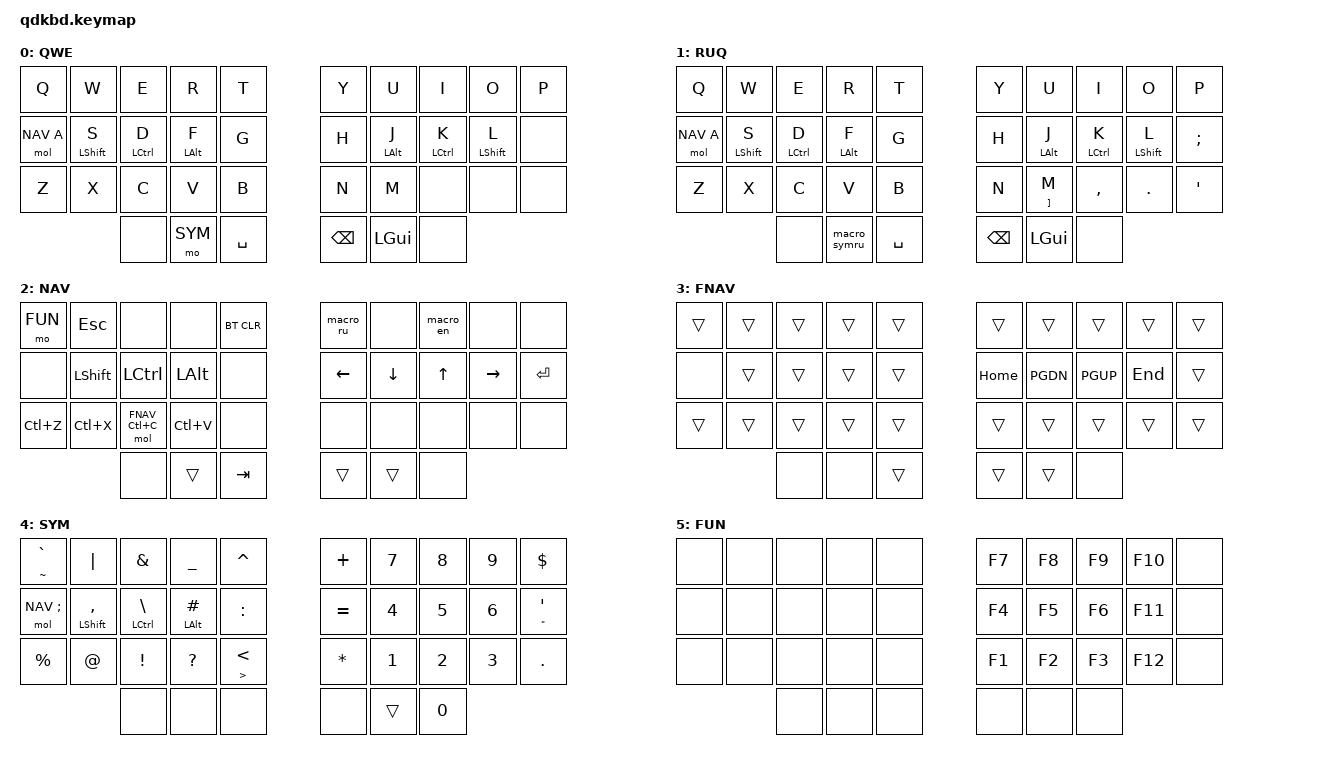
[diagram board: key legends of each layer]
#include <behaviors.dtsi>
#include <dt-bindings/zmk/keys.h>
#include <dt-bindings/zmk/bt.h>

#define QWE 0
#define RUQ 1
#define NAV 2
#define FNAV 3
#define SYM 4
#define FUN 5

#define ____ &trans
#define XXXX &none
// Homerow mods

/ {
    combos {
        #include "combos.dtsi"
    };
    macros {
        #include "macros.dtsi"
    };
    behaviors {
        #include "behaviors.dtsi"
    };
    keymap {
        compatible = "zmk,keymap";
        qwerty {
            label = "QWE";
            bindings = <
// ╭────────────┬────────────┬────────────┬────────────┬────────────╮                            ╭────────────┬────────────┬────────────┬────────────┬────────────╮
    &kp Q        &kp W        &kp E        &kp R        &kp T                                     &kp Y        &kp U        &kp I        &kp O        &kp P
    &mol NAV A   &mtl LSHFT S &mtl LCTRL D &mtl LALT F  &kp G                                     &kp H        &mtr LALT J  &mtr LCTRL K &mtr LSHFT L XXXX
    &kp Z        &kp X        &kp C        &kp V        &kp B                                     &kp N        &kp M        XXXX         XXXX         XXXX
// ╰────────────┴────────────┴────────────┼────────────┼────────────┼────────────╮  ╭────────────┼────────────┼────────────┼────────────┴────────────┴────────────╯
                                           XXXX         &mo SYM      &kp SPACE       &kp BSPC     &kp LGUI      XXXX
//                                        ╰────────────┴────────────┴────────────╯  ╰────────────┴────────────┴────────────╯
            >;
        };
        ru_qwerty {
            label = "RUQ";
            bindings = <
// ╭────────────┬────────────┬────────────┬────────────┬────────────╮                            ╭────────────┬────────────┬────────────┬────────────┬────────────╮
    &kp Q        &kp W        &kp E        &kp R        &kp T                                     &kp Y        &kp U        &kp I        &kp O        &kp P
    &mol NAV A   &mtl LSHFT S &mtl LCTRL D &mtl LALT F  &kp G                                     &kp H        &mtr LALT J  &mtr LCTRL K &mtr LSHFT L &kp SEMI
    &kp Z        &kp X        &kp C        &kp V        &kp B                                     &kp N        &mt RBKT M   &kp COMMA    &kp DOT      &kp APOS
// ╰────────────┴────────────┴────────────┼────────────┼────────────┼────────────╮  ╭────────────┼────────────┼────────────┼────────────┴────────────┴────────────╯
                                           XXXX         &macro_symru &kp SPACE       &kp BSPC     &kp LGUI      XXXX
//                                        ╰────────────┴────────────┴────────────╯  ╰────────────┴────────────┴────────────╯
            >;
        }; 
        navigation {
            label = "NAV";
            bindings = <
// ╭────────────┬────────────┬────────────┬────────────┬────────────╮                            ╭────────────┬────────────┬────────────┬────────────┬────────────╮
    &mo FUN      &kp ESC      XXXX         XXXX         &bt BT_CLR                                &macro_ru    XXXX         &macro_en    XXXX         XXXX
    XXXX         &kp LSHFT    &kp LCTRL    &kp LALT     XXXX                                      &kp LEFT     &kp DOWN     &kp UP       &kp RIGHT    &kp RET
    &kp LC(Z)    &kp LC(X) &mol FNAV LC(C) &kp LC(V)    XXXX                                      XXXX         XXXX         XXXX         XXXX         XXXX
// ╰────────────┴────────────┴────────────┼────────────┼────────────┼────────────╮  ╭────────────┼────────────┼────────────┼────────────┴────────────┴────────────╯
                                           XXXX         ____         &kp TAB         ____         ____         XXXX
//                                        ╰────────────┴────────────┴────────────╯  ╰────────────┴────────────┴────────────╯
            >;
        };
        fast_navigation {
            label = "FNAV";
            bindings = <
// ╭────────────┬────────────┬────────────┬────────────┬────────────╮                            ╭────────────┬────────────┬────────────┬────────────┬────────────╮
    ____         ____         ____         ____         ____                                      ____         ____         ____         ____         ____
    XXXX         ____         ____         ____         ____                                      &kp HOME     &kp PGDN     &kp PGUP     &kp END      ____
    ____         ____         ____         ____         ____                                      ____         ____         ____         ____         ____
// ╰────────────┴────────────┴────────────┼────────────┼────────────┼────────────╮  ╭────────────┼────────────┼────────────┼────────────┴────────────┴────────────╯
                                           XXXX         XXXX         ____            ____         ____         XXXX
//                                        ╰────────────┴────────────┴────────────╯  ╰────────────┴────────────┴────────────╯
            >;
        };
        symbols {
            label = "SYM";
            bindings = <
// ╭────────────┬────────────┬────────────┬────────────┬────────────╮                            ╭────────────┬────────────┬────────────┬────────────┬────────────╮
    &mt TILDE GRAVE &kp PIPE  &kp AMPS     &kp UNDER    &kp CARET                                 &kp PLUS     &kp N7       &kp N8       &kp N9       &kp DLLR
    &mol NAV SEMI &mtl LSHFT COMMA &mtl LCTRL BSLH   &mtl LALT HASH &kp COLON                                 &kp EQUAL    &kp N4       &kp N5       &kp N6       &mt DQT APOS
    &kp PRCNT    &kp AT       &kp EXCL     &kp QMARK    &mt GT LT                                 &kp STAR     &kp N1       &kp N2       &kp N3       &kp DOT
// ╰────────────┴────────────┴────────────┼────────────┼────────────┼────────────╮  ╭────────────┼────────────┼────────────┼────────────┴────────────┴────────────╯
                                           XXXX         XXXX         XXXX            XXXX         ____         &kp N0
//                                        ╰────────────┴────────────┴────────────╯  ╰────────────┴────────────┴────────────╯
            >;
        };
        function {
            label = "FUN";
            bindings = <
// ╭────────────┬────────────┬────────────┬────────────┬────────────╮                            ╭────────────┬────────────┬────────────┬────────────┬────────────╮
    &none        &none       &none         &none        &none                                     &kp F7       &kp F8       &kp F9       &kp F10      &none
    &none        &none       &none         &none        &none                                     &kp F4       &kp F5       &kp F6       &kp F11      &none
    &none        &none       &none         &none        &none                                     &kp F1       &kp F2       &kp F3       &kp F12      &none
// ╰────────────┴────────────┴────────────┼────────────┼────────────┼────────────╮  ╭────────────┼────────────┼────────────┼────────────┴────────────┴────────────╯
                                           &none        &none        &none           &none        &none        &none
//                                        ╰────────────┴────────────┴────────────╯  ╰────────────┴────────────┴────────────╯
            >;
        };
    };
};
